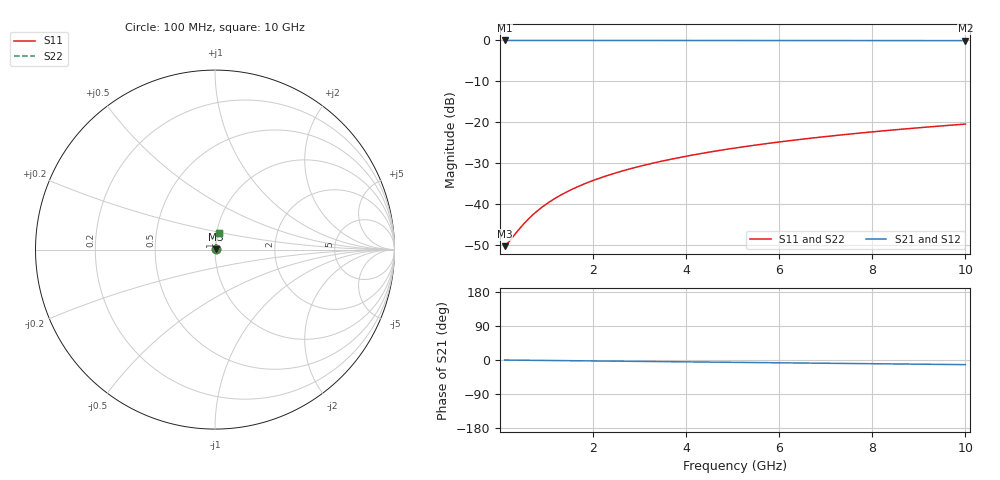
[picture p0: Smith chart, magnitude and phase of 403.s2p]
# Hz S RI R 50.00
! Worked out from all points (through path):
!   100 points, 100 MHz to 10 GHz, reference 50 ohm
!   highest |S21| = -0.03 dB at 100 MHz (marker M1); lowest = -0.1 dB at 10 GHz (marker M2)
!   group delay of S21, straight-line fit = 3.4 ps
!   lowest |S11| = -50.3 dB at 100 MHz (marker M3), VSWR 1.01, Z = 50.3 + j0.0956 ohm
!   |S11| at or under -10 dB: start of sweep to end of sweep
!   |S22| runs from -50.3 to -20.5 dB; largest |S21 - S12| = 0
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1e8  0.0029 0.000951  0.9971 -0.00213  0.9971 -0.00213  0.0029 0.000951
2e8  0.00293 0.0019  0.9971 -0.00427  0.9971 -0.00427  0.00293 0.0019
4e8  0.00298 0.0038  0.997 -0.00854  0.997 -0.00854  0.00298 0.0038
5e8  0.003 0.00475  0.997 -0.0107  0.997 -0.0107  0.003 0.00475
6e8  0.00303 0.0057  0.9969 -0.0128  0.9969 -0.0128  0.00303 0.0057
7e8  0.00307 0.00665  0.9969 -0.0149  0.9969 -0.0149  0.00307 0.00665
9e8  0.00315 0.00855  0.9968 -0.0192  0.9968 -0.0192  0.00315 0.00855
1.1e9  0.00324 0.0105  0.9967 -0.0235  0.9967 -0.0235  0.00324 0.0105
1.3e9  0.00335 0.0124  0.9965 -0.0277  0.9965 -0.0277  0.00335 0.0124
1.5e9  0.00347 0.0142  0.9964 -0.032  0.9964 -0.032  0.00347 0.0142
1.8e9  0.00368 0.0171  0.9961 -0.0384  0.9961 -0.0384  0.00368 0.0171
2.1e9  0.00393 0.0199  0.9957 -0.0448  0.9957 -0.0448  0.00393 0.0199
2.5e9  0.00432 0.0237  0.9952 -0.0533  0.9952 -0.0533  0.00432 0.0237
2.9e9  0.00477 0.0275  0.9946 -0.0618  0.9946 -0.0618  0.00477 0.0275
3.4e9  0.00542 0.0322  0.9937 -0.0724  0.9937 -0.0724  0.00542 0.0322
4.2e9  0.00668 0.0397  0.992 -0.0894  0.992 -0.0894  0.00668 0.0397
5.1e9  0.00839 0.048  0.9897 -0.1084  0.9897 -0.1084  0.00839 0.048
5.9e9  0.0102 0.0554  0.9873 -0.1253  0.9873 -0.1253  0.0102 0.0554
6.7e9  0.0122 0.0627  0.9845 -0.1421  0.9845 -0.1421  0.0122 0.0627
7.5e9  0.0145 0.0699  0.9814 -0.1588  0.9814 -0.1588  0.0145 0.0699
8.4e9  0.0174 0.078  0.9776 -0.1775  0.9776 -0.1775  0.0174 0.078
1e10  0.0232 0.0919  0.9696 -0.2104  0.9696 -0.2104  0.0232 0.0919
